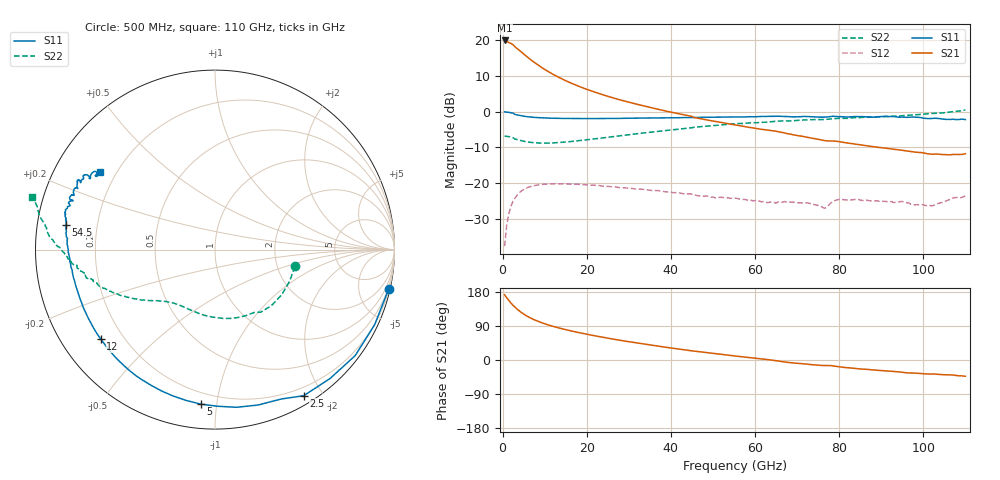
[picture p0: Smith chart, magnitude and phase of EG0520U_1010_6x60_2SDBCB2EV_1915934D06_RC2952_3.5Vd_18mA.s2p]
!File name = EG0520U_1010_6x60_2SDBCB2EV_1915934D06_RC2952_3.5Vd_18mA.s2p
!Base file name = EG0520U_1010_6x60_2SDBCB2EV_1915934D06_RC2952
!Date = 8/23/2019
!Time = 1:15 PM
!Test duration(min) = 0.15
!Test = S-Parameters
!MPTS version = 8.91.5
!State File = C:\Data\PNA\20190821205423\S-Parameters_2019-08-23.sta
!Cal File =
!ComputerName = CMPE-LAB-6
!Comments =
!Attenuation = 0
!Z0 = 50
!Input Power(dBm) = -13.00
!Device ID = EG0520U_1010_6x60_2SDBCB2EV
!Row = 29
!Column = 52
!Technology = QPHT09
!Lot/Wafer = 1915934D06
!Gate Size = 360
!Mask = EG0520
!Cal Standards = GaAs BCB
!Cal Kit = EG2306
!Job Number = 20190821205423
!Device Type = FET
!set_Vg(v) = -1.500
!set_Vd(v) = 3.500
!set_Vd(mA) = 18.000
!file_name = EG0520U_1010_6x60_2SDBCB2EV_1915934D06_RC2952_3.5Vd_18mA.s2p
!Vd(V) = 3.500
!Vd(mA) = 17.919
!Vg(V) = -0.621
!Vg(mA) = -0.006
# GHz  S  DB  R  50
!%	Freq(GHz)  s11(dB)  s11(deg)  s21(dB)  s21(deg)  s12(dB)  s12(deg)  s22(dB)  s22(deg)
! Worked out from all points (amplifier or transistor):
!   220 points, 500 MHz to 110 GHz, reference 50 ohm
!   highest |S21| = 19.9 dB at 500 MHz (marker M1)
!   |S21| within 3 dB of that: start of sweep to 4.24 GHz
!   unconditionally stable (mu >= 1): 35.49264 GHz to 35.51213 GHz; 36.53 GHz to 101.5 GHz
!   at 18.5 GHz: K = 0.50, MSG = 13.6 dB, |S12| = -20.3 dB
!   at 55.5 GHz: K = 1.42, MAG = 6.4 dB, |S12| = -24.2 dB
!   at 110 GHz: K = -2.22, MSG = 5.9 dB, |S12| = -23.5 dB
!   S11 on the Smith chart (normalised r, x): 500 MHz: 0.31, -8.98; 2.5 GHz: 0.10, -1.77; 5 GHz: 0.13, -0.90; 12 GHz: 0.12, -0.34; 54.5 GHz: 0.09, +0.08; 110 GHz: 0.14, +0.30
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0.5  -0.07 -12.7  19.91 172.0  -37.62 81.2  -6.83 -11.9
1  -0.15 -25.2  19.60 164.1  -31.79 74.7  -6.91 -23.0
2  -0.33 -48.2  19.09 150.4  -26.47 61.6  -7.07 -44.9
2.5  -0.42 -58.7  18.72 144.3  -25.02 56.1  -7.30 -54.0
3  -0.81 -66.0  18.09 139.0  -24.15 51.8  -7.67 -57.8
3.5  -0.93 -74.5  17.64 134.0  -23.31 47.3  -7.83 -65.1
4.5  -1.18 -89.0  16.64 125.2  -22.17 39.6  -8.12 -77.8
5  -1.26 -95.2  16.14 121.4  -21.78 36.4  -8.26 -83.2
6  -1.43 -106.1  15.18 114.6  -21.22 31.0  -8.49 -92.3
7.5  -1.60 -118.7  13.82 106.3  -20.71 24.4  -8.68 -102.9
9.5  -1.74 -130.8  12.20 97.6  -20.33 18.0  -8.79 -112.2
12  -1.85 -141.9  10.44 88.8  -20.18 11.9  -8.74 -120.6
15  -1.91 -151.2  8.66 80.1  -20.21 6.6  -8.51 -127.4
19  -1.94 -159.9  6.69 70.3  -20.39 1.1  -8.01 -133.2
27  -1.89 -170.8  3.60 53.8  -21.06 -5.8  -6.87 -141.2
37  -1.75 -179.2  0.65 36.4  -22.07 -10.1  -5.49 -149.2
54.5  -1.49 170.5  -3.56 11.6  -24.23 -12.8  -3.45 -162.0
55.5  -1.50 169.8  -3.74 10.4  -24.21 -11.7  -3.37 -162.8
73.5  -1.42 161.4  -7.41 -12.3  -25.84 -14.2  -2.22 -172.4
92  -1.39 152.9  -10.37 -29.6  -25.14 -22.9  -1.32 179.6
102  -1.92 149.9  -11.90 -37.2  -26.36 -20.7  -0.51 173.4
110  -2.23 146.1  -11.77 -42.8  -23.52 -21.6  0.50 163.9
